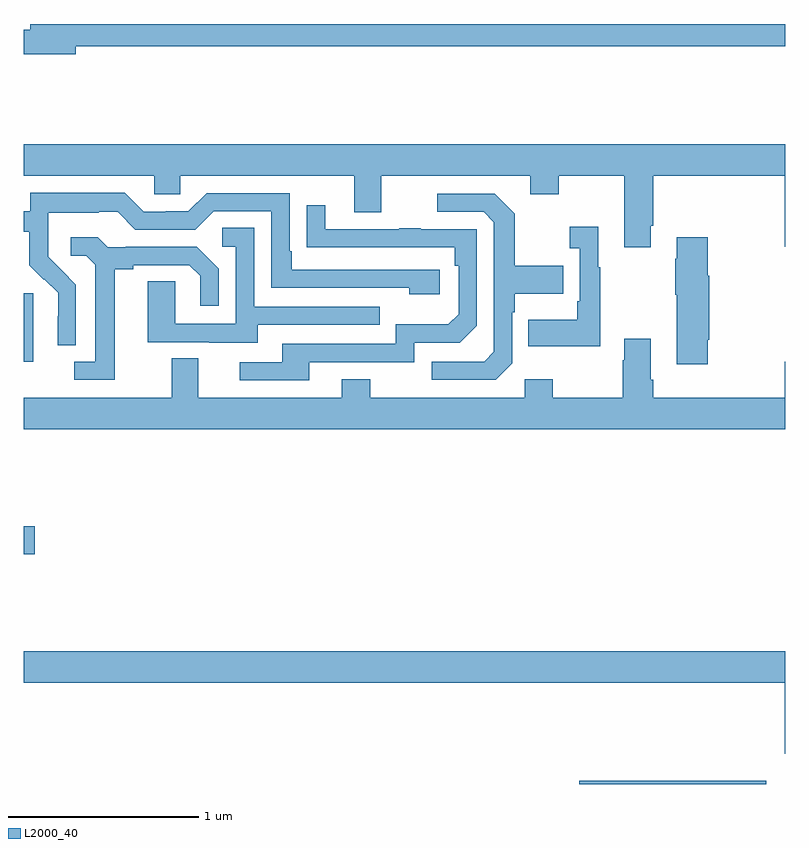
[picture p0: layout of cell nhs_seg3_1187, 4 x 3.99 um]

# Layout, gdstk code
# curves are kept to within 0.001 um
import gdstk
lib = gdstk.Library(unit=1e-6, precision=1e-09)
def R(c, l, rs):  # rectangles x0, y0, x1, y1
    for r in rs: c.add(gdstk.rectangle(r[:2], r[2:], *l))
def P(c, l, *ps):  # polygons
    for p in ps: c.add(gdstk.Polygon(p, *l))
L2000_40 = (2000, 40)

nhs_seg3_1187 = lib.new_cell('nhs_seg3_1187')
R(nhs_seg3_1187, L2000_40, [(175.919,684.4,176.9,684.416), (173,685.607,173.059,685.754), (173,686.618,173.05,686.979)])
P(nhs_seg3_1187, L2000_40, [(173.272,688.276),(177,688.276),(177,688.392),(173.033,688.392),(173.033,688.363),(173,688.363),(173,688.234),(173.272,688.234)],
  [(176.293,687.331),(176.306,687.331),(176.306,687.596),(176.996,687.596),(176.996,687.222),(177,687.222),(177,687.76),(173,687.76),(173,687.596),(173.685,687.596),(173.685,687.498),(173.823,687.498),(173.823,687.596),(174.737,687.596),(174.737,687.402),(174.877,687.402),(174.877,687.596),(175.661,687.596),(175.661,687.497),(175.809,687.497),(175.809,687.596),(176.153,687.596),(176.153,687.219),(176.293,687.219)],
  [(173.274,687.022),(173.128,687.17),(173.128,687.267),(173.13,687.267),(173.13,687.401),(173.393,687.401),(173.393,687.405),(173.493,687.405),(173.586,687.312),(173.901,687.312),(173.997,687.408),(174.3,687.408),(174.3,687.006),(175.025,687.006),(175.025,686.972),(175.186,686.972),(175.186,687.102),(174.409,687.102),(174.409,687.199),(174.396,687.199),(174.396,687.504),(173.961,687.504),(173.865,687.408),(173.747,687.408),(173.747,687.405),(173.631,687.405),(173.531,687.505),(173.034,687.505),(173.034,687.408),(173,687.408),(173,687.3),(173.029,687.3),(173.029,687.125),(173.106,687.048),(173.109,687.051),(173.18,686.981),(173.18,686.858),(173.178,686.858),(173.178,686.704),(173.274,686.704)],
  [(175.566,686.61),(175.566,686.879),(175.579,686.879),(175.579,686.975),(175.835,686.975),(175.835,687.123),(175.579,687.123),(175.579,687.395),(175.473,687.501),(175.173,687.501),(175.173,687.405),(175.416,687.405),(175.47,687.351),(175.47,686.67),(175.419,686.619),(175.143,686.619),(175.143,686.523),(175.479,686.523)],
  [(174.499,686.616),(175.05,686.616),(175.05,686.718),(175.29,686.718),(175.38,686.808),(175.38,687.315),(175.085,687.315),(175.085,687.32),(174.973,687.32),(174.973,687.315),(174.583,687.315),(174.583,687.439),(174.487,687.439),(174.487,687.22),(175.264,687.219),(175.264,687.122),(175.284,687.122),(175.284,686.868),(175.231,686.815),(174.954,686.815),(174.954,686.712),(174.359,686.712),(174.359,686.616),(174.135,686.616),(174.135,686.52),(174.499,686.52)],
  [(176.029,687.115),(176.017,687.115),(176.017,687.328),(175.869,687.328),(175.869,687.215),(175.92,687.215),(175.92,686.935),(175.908,686.935),(175.908,686.839),(175.651,686.839),(175.651,686.699),(176.029,686.699)],
  [(174.229,686.811),(174.869,686.811),(174.869,686.907),(174.21,686.907),(174.21,687.323),(174.042,687.323),(174.042,687.222),(174.114,687.222),(174.114,686.817),(173.796,686.817),(173.796,687.041),(173.651,687.041),(173.651,686.721),(173.975,686.721),(173.975,686.717),(174.229,686.717)],
  [(176.592,686.733),(176.602,686.733),(176.602,687.069),(176.592,687.069),(176.592,687.271),(176.429,687.271),(176.429,687.158),(176.422,687.158),(176.422,686.969),(176.429,686.969),(176.429,686.604),(176.592,686.604)],
  [(173.479,687.104),(173.575,687.104),(173.575,687.126),(173.87,687.126),(173.927,687.069),(173.927,686.913),(174.024,686.913),(174.024,687.106),(173.908,687.222),(173.536,687.222),(173.536,687.219),(173.442,687.219),(173.39,687.271),(173.247,687.271),(173.247,687.174),(173.328,687.174),(173.375,687.127),(173.375,686.619),(173.265,686.619),(173.265,686.523),(173.479,686.523)],
  [(177,686.617),(176.996,686.617),(176.996,686.428),(176.306,686.428),(176.306,686.524),(176.293,686.524),(176.293,686.74),(176.153,686.74),(176.153,686.627),(176.146,686.627),(176.146,686.428),(175.779,686.428),(175.779,686.527),(175.632,686.527),(175.632,686.428),(174.819,686.428),(174.819,686.527),(174.671,686.527),(174.671,686.428),(173.917,686.428),(173.917,686.636),(173.777,686.636),(173.777,686.428),(173,686.428),(173,686.264),(177,686.264)],
  [(177,685.096),(173,685.096),(173,684.932),(176.996,684.932),(176.996,684.558),(177,684.558)])

lib.write_gds('nhs_seg3_1187.gds')
